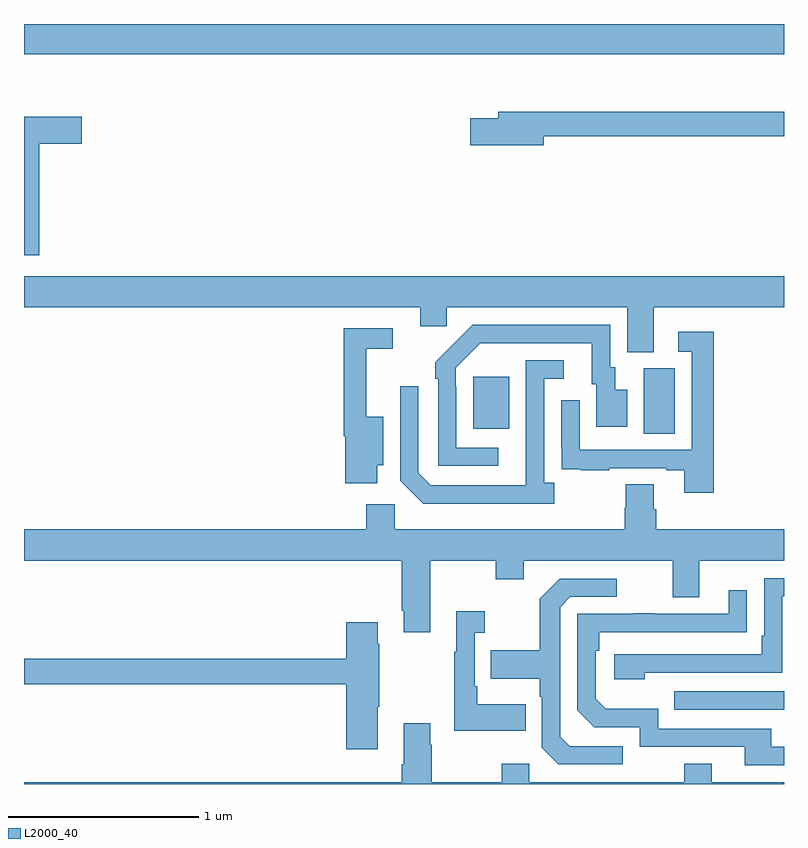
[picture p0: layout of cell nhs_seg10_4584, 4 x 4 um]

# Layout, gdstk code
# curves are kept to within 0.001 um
import gdstk
lib = gdstk.Library(unit=1e-6, precision=1e-09)
def R(c, l, rs):  # rectangles x0, y0, x1, y1
    for r in rs: c.add(gdstk.rectangle(r[:2], r[2:], *l))
def P(c, l, *ps):  # polygons
    for p in ps: c.add(gdstk.Polygon(p, *l))
L2000_40 = (2000, 40)

nhs_seg10_4584 = lib.new_cell('nhs_seg10_4584')
R(nhs_seg10_4584, L2000_40, [(376.423,1272.891,377,1272.987), (376.262,1274.344,376.426,1274.688), (375.365,1274.369,375.553,1274.644), (373,1276.34,377,1276.5)])
P(nhs_seg10_4584, L2000_40, [(375.736,1275.91),(377,1275.91),(377,1276.039),(375.497,1276.039),(375.497,1276.005),(375.348,1276.005),(375.348,1275.863),(375.736,1275.863)],
  [(373.079,1275.869),(373.303,1275.869),(373.303,1276.011),(373,1276.011),(373,1275.282),(373.079,1275.282)],
  [(376.315,1275.008),(377,1275.008),(377,1275.172),(373,1275.172),(373,1275.008),(375.086,1275.008),(375.086,1274.91),(375.225,1274.91),(375.225,1275.008),(376.175,1275.008),(376.175,1274.773),(376.315,1274.773)],
  [(375.496,1274.271),(375.276,1274.271),(375.276,1274.591),(375.273,1274.591),(375.273,1274.691),(375.402,1274.82),(375.989,1274.82),(375.989,1274.604),(376.013,1274.604),(376.013,1274.379),(376.174,1274.379),(376.174,1274.575),(376.111,1274.575),(376.111,1274.694),(376.086,1274.694),(376.086,1274.916),(375.362,1274.916),(375.165,1274.721),(375.165,1274.633),(375.18,1274.633),(375.18,1274.175),(375.496,1274.175)],
  [(374.86,1274.177),(374.89,1274.177),(374.89,1274.434),(374.801,1274.434),(374.801,1274.79),(374.941,1274.79),(374.941,1274.898),(374.683,1274.898),(374.683,1274.33),(374.69,1274.33),(374.69,1274.082),(374.86,1274.082)],
  [(376.631,1274.881),(376.443,1274.881),(376.443,1274.775),(376.515,1274.775),(376.515,1274.259),(375.924,1274.259),(375.924,1274.521),(375.828,1274.521),(375.828,1274.266),(375.829,1274.266),(375.829,1274.157),(375.931,1274.157),(375.931,1274.151),(376.079,1274.151),(376.079,1274.163),(376.379,1274.163),(376.379,1274.151),(376.475,1274.151),(376.475,1274.034),(376.631,1274.034)],
  [(375.79,1274.086),(375.738,1274.086),(375.738,1274.634),(375.841,1274.634),(375.841,1274.73),(375.642,1274.73),(375.641,1274.073),(375.141,1274.073),(375.075,1274.139),(375.075,1274.593),(374.979,1274.593),(374.979,1274.097),(375.1,1273.976),(375.79,1273.976)],
  [(375.139,1273.676),(375.484,1273.676),(375.484,1273.577),(375.631,1273.577),(375.631,1273.676),(376.415,1273.676),(376.415,1273.482),(376.555,1273.482),(376.555,1273.676),(377,1273.676),(377,1273.84),(376.328,1273.84),(376.328,1273.946),(376.315,1273.946),(376.315,1274.078),(376.168,1274.078),(376.168,1273.953),(376.163,1273.953),(376.163,1273.84),(374.952,1273.84),(374.952,1273.972),(374.801,1273.972),(374.801,1273.84),(373,1273.84),(373,1273.676),(374.987,1273.676),(374.987,1273.411),(374.999,1273.411),(374.999,1273.299),(375.139,1273.299)],
  [(376.268,1273.086),(376.992,1273.086),(376.992,1273.488),(377,1273.488),(377,1273.584),(376.896,1273.584),(376.896,1273.279),(376.883,1273.279),(376.883,1273.182),(376.107,1273.182),(376.107,1273.052),(376.268,1273.052)],
  [(376.15,1272.699),(375.873,1272.699),(375.822,1272.75),(375.822,1273.431),(375.876,1273.485),(376.12,1273.485),(376.12,1273.581),(375.819,1273.581),(375.714,1273.475),(375.714,1273.203),(375.457,1273.203),(375.457,1273.055),(375.714,1273.055),(375.714,1272.959),(375.726,1272.959),(375.726,1272.69),(375.813,1272.603),(376.15,1272.603)],
  [(377,1272.696),(376.933,1272.696),(376.933,1272.792),(376.338,1272.792),(376.338,1272.895),(376.061,1272.895),(376.008,1272.948),(376.008,1273.202),(376.028,1273.202),(376.028,1273.299),(376.805,1273.3),(376.805,1273.519),(376.709,1273.519),(376.709,1273.395),(376.319,1273.395),(376.319,1273.4),(376.207,1273.4),(376.207,1273.395),(375.912,1273.395),(375.912,1272.888),(376.002,1272.798),(376.242,1272.798),(376.242,1272.696),(376.793,1272.696),(376.793,1272.6),(377,1272.6)],
  [(375.641,1272.919),(375.385,1272.919),(375.385,1273.015),(375.372,1273.015),(375.372,1273.295),(375.424,1273.295),(375.424,1273.408),(375.275,1273.408),(375.275,1273.195),(375.264,1273.195),(375.264,1272.779),(375.641,1272.779)],
  [(374.863,1272.907),(374.871,1272.907),(374.871,1273.238),(374.863,1273.238),(374.863,1273.351),(374.696,1273.351),(374.696,1273.16),(373,1273.16),(373,1273.024),(374.696,1273.024),(374.696,1272.684),(374.863,1272.684)],
  [(377,1272.508),(376.621,1272.508),(376.621,1272.607),(376.474,1272.607),(376.474,1272.508),(375.66,1272.508),(375.66,1272.607),(375.514,1272.607),(375.514,1272.508),(375.147,1272.508),(375.147,1272.707),(375.139,1272.707),(375.139,1272.82),(374.999,1272.82),(374.999,1272.604),(374.987,1272.604),(374.987,1272.508),(373,1272.508),(373,1272.5),(377,1272.5)])

lib.write_gds('nhs_seg10_4584.gds')
